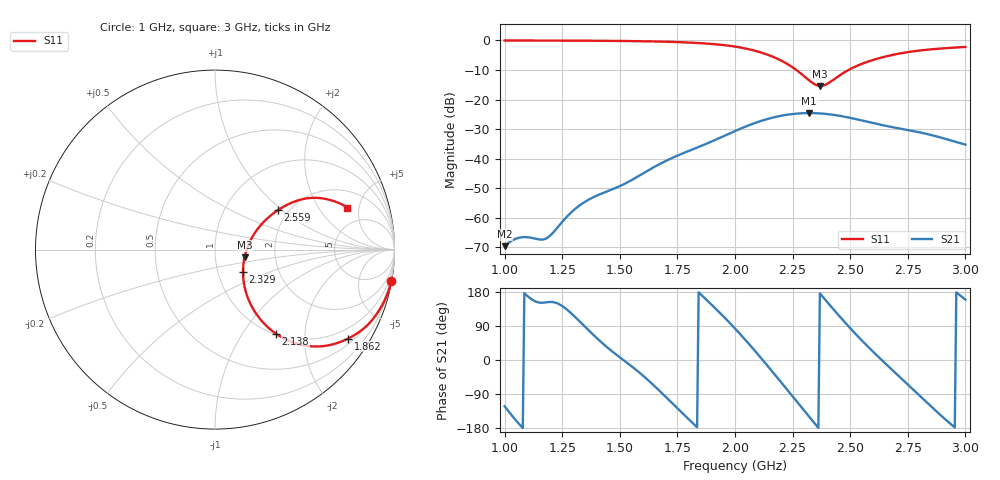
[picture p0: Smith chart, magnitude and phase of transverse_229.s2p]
! TOUCHSTONE file generated by CST MICROWAVE STUDIO
! Date and time: Tue Mar 11 13:57:54 2025
! Project name: transverse.cst
! Parameters = {Fracture=1; B=10; D=160; F=15; Feed=2.85625; L=100; M=10; R=0.384908; S=1; Theta=270; length=57.125; wave=114.25}
! Header version: 2024
! Port assignment regex: !\s*Touchstone port\s*([0-9]+)\s*=\s*(CST MWS port|CST DES external port|CST DES block port)\s*(.+)\s* \(\"(.*)\"\)(\s*mode\s*([0-9]+))?.*
! Touchstone port assignment:
! Touchstone port 1 = CST MWS port 1 ("")
! Touchstone port 2 = CST MWS port 2 ("")
# GHz S MA R 50
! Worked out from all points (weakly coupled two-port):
!   305 points, 1 GHz to 3 GHz, reference 50 ohm
!   highest |S21| = -24.57 dB at 2.322 GHz (marker M1); lowest = -69.6 dB at 1 GHz (marker M2)
!   lowest |S11| = -15.4 dB at 2.368 GHz (marker M3), VSWR 1.41, Z = 69.4 - j6.1 ohm
!   |S11| at or under -10 dB: 2.266 GHz to 2.493 GHz (226.7 MHz wide, 9.53 % of centre)
!   S12 and S22 are empty: the file has one direction only
!   S11 on the Smith chart (normalised r, x): 1 GHz: 0, -11; 1.862 GHz: 0.66, -3.17; 2.138 GHz: 1.01, -1.43; 2.329 GHz: 1.32, -0.35; 2.559 GHz: 1.76, +0.93; 3 GHz: 3.24, +3.79
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1  0.9979 -10.0  0.0003325 -122.1  0 0.0  0 0.0
1.06579  0.9968 -10.9  0.0004645 -170.9  0 0.0  0 0.0
1.15789  0.9954 -12.3  0.0004289 151.1  0 0.0  0 0.0
1.18421  0.995 -12.7  0.0004568 152.4  0 0.0  0 0.0
1.28289  0.9918 -14.5  0.001174 126.6  0 0.0  0 0.0
1.33553  0.9894 -15.5  0.00173 96.0  0 0.0  0 0.0
1.52632  0.9763 -20.1  0.003859 -5.0  0 0.0  0 0.0
1.67105  0.9567 -24.7  0.008052 -80.5  0 0.0  0 0.0
1.86184  0.8919 -33.7  0.01699 167.2  0 0.0  0 0.0
2  0.7862 -43.4  0.02937 83.2  0 0.0  0 0.0
2.13816  0.5792 -54.0  0.04663 -13.0  0 0.0  0 0.0
2.23026  0.3928 -57.3  0.05569 -81.4  0 0.0  0 0.0
2.32237  0.2101 -41.9  0.05911 -150.2  0 0.0  0 0.0
2.32895  0.2006 -38.9  0.0591 -155.0  0 0.0  0 0.0
2.33553  0.1922 -35.6  0.05905 -159.9  0 0.0  0 0.0
2.36842  0.1701 -14.5  0.05832 175.9  0 0.0  0 0.0
2.40132  0.1853 6.6  0.05682 152.2  0 0.0  0 0.0
2.46053  0.2658 26.0  0.05258 110.6  0 0.0  0 0.0
2.55921  0.4136 32.1  0.04351 46.2  0 0.0  0 0.0
2.67105  0.5543 30.2  0.0349 -19.8  0 0.0  0 0.0
2.82237  0.6886 23.9  0.02679 -106.3  0 0.0  0 0.0
3  0.7744 17.6  0.01728 159.3  0 0.0  0 0.0
